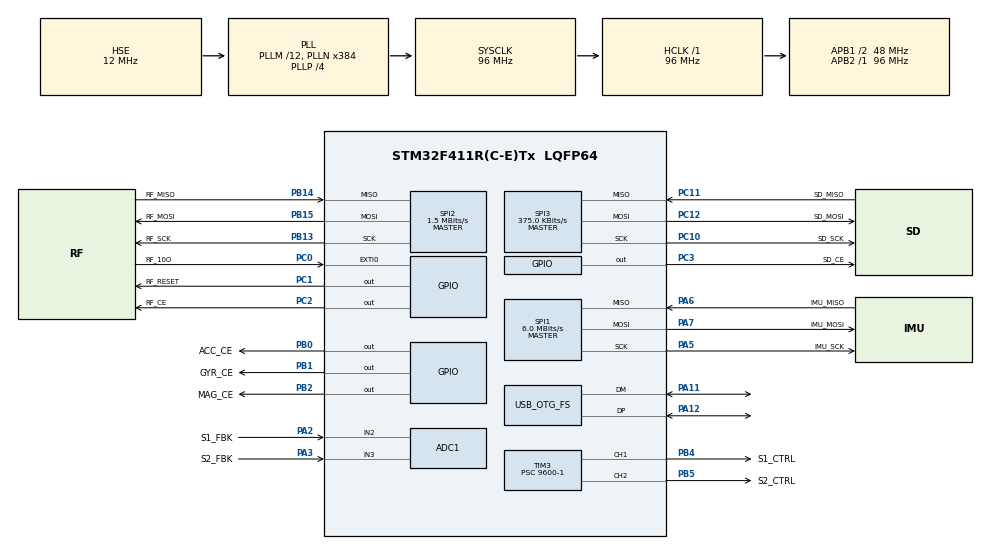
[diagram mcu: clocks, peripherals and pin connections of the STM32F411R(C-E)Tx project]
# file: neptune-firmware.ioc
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ADC1.Channel-0\#ChannelRegularConversion=ADC_CHANNEL_2
ADC1.NbrOfConversionFlag=1
ADC1.Rank-0\#ChannelRegularConversion=1
ADC1.SamplingTime-0\#ChannelRegularConversion=ADC_SAMPLETIME_3CYCLES
ADC1.master=1
FREERTOS.Tasks01=SensorRead,48,512,start_sensor_reading,Default,NULL,Dynamic,NULL,NULL;LoRa,15,512,start_LoRa_task,Default,NULL,Dynamic,NULL,NULL;ServoActuate,48,512,start_servo_control,Default,NULL,Dynamic,NULL,NULL;KalmanFilter,48,2048,start_kalman_filter,Default,NULL,Dynamic,NULL,NULL
FREERTOS.configUSE_NEWLIB_REENTRANT=1
Mcu.Family=STM32F4
Mcu.Name=STM32F411R(C-E)Tx
Mcu.Package=LQFP64
NVIC.EXTI0_IRQn=true\:5\:0\:false\:false\:true\:true\:true\:true\:true
NVIC.OTG_FS_IRQn=true\:5\:0\:false\:false\:true\:true\:false\:true\:true
NVIC.PriorityGroup=NVIC_PRIORITYGROUP_4
PA11.Mode=Device_Only
PA11.Signal=USB_OTG_FS_DM
PA12.Mode=Device_Only
PA12.Signal=USB_OTG_FS_DP
PA13.Mode=Serial_Wire
PA13.Signal=SYS_JTMS-SWDIO
PA14.Mode=Serial_Wire
PA14.Signal=SYS_JTCK-SWCLK
PA2.GPIO_Label=S1_FBK
PA2.Signal=ADCx_IN2
PA3.GPIO_Label=S2_FBK
PA3.Signal=ADCx_IN3
PA5.GPIO_Label=IMU_SCK
PA5.Mode=Full_Duplex_Master
PA5.Signal=SPI1_SCK
PA6.GPIO_Label=IMU_MISO
PA6.Mode=Full_Duplex_Master
PA6.Signal=SPI1_MISO
PA7.GPIO_Label=IMU_MOSI
PA7.Mode=Full_Duplex_Master
PA7.Signal=SPI1_MOSI
PB0.GPIO_Label=ACC_CE
PB0.Signal=GPIO_Output
PB1.GPIO_Label=GYR_CE
PB1.Signal=GPIO_Output
PB13.GPIO_Label=RF_SCK
PB13.Mode=Full_Duplex_Master
PB13.Signal=SPI2_SCK
PB14.GPIO_Label=RF_MISO
PB14.Mode=Full_Duplex_Master
PB14.Signal=SPI2_MISO
PB15.GPIO_Label=RF_MOSI
PB15.Mode=Full_Duplex_Master
PB15.Signal=SPI2_MOSI
PB2.GPIO_Label=MAG_CE
PB2.Signal=GPIO_Output
PB4.GPIO_Label=S1_CTRL
PB4.Signal=S_TIM3_CH1
PB5.GPIO_Label=S2_CTRL
PB5.Signal=S_TIM3_CH2
PC0.GPIO_Label=RF_10O
PC0.Signal=GPXTI0
PC1.GPIO_Label=RF_RESET
PC1.Signal=GPIO_Output
PC10.GPIO_Label=SD_SCK
PC10.Mode=Full_Duplex_Master
PC10.Signal=SPI3_SCK
PC11.GPIO_Label=SD_MISO
PC11.Mode=Full_Duplex_Master
PC11.Signal=SPI3_MISO
PC12.GPIO_Label=SD_MOSI
PC12.Mode=Full_Duplex_Master
PC12.Signal=SPI3_MOSI
PC14-OSC32_IN.Mode=LSE-External-Oscillator
PC14-OSC32_IN.Signal=RCC_OSC32_IN
PC15-OSC32_OUT.Mode=LSE-External-Oscillator
PC15-OSC32_OUT.Signal=RCC_OSC32_OUT
PC2.GPIO_Label=RF_CE
PC2.Signal=GPIO_Output
PC3.GPIO_Label=SD_CE
PC3.Signal=GPIO_Output
PH0\ -\ OSC_IN.Mode=HSE-External-Oscillator
PH0\ -\ OSC_IN.Signal=RCC_OSC_IN
PH1\ -\ OSC_OUT.Mode=HSE-External-Oscillator
PH1\ -\ OSC_OUT.Signal=RCC_OSC_OUT
ProjectManager.HeapSize=0x200
ProjectManager.StackSize=0x400
ProjectManager.TargetToolchain=STM32CubeIDE
RCC.48MHZClocksFreq_Value=48000000
RCC.AHBFreq_Value=96000000
RCC.APB1CLKDivider=RCC_HCLK_DIV2
RCC.APB1Freq_Value=48000000
RCC.APB1TimFreq_Value=96000000
RCC.APB2Freq_Value=96000000
RCC.APB2TimFreq_Value=96000000
RCC.CortexFreq_Value=96000000
RCC.HCLKFreq_Value=96000000
RCC.HSE_VALUE=12000000
RCC.HSI_VALUE=16000000
RCC.PLLM=12
RCC.PLLN=384
RCC.PLLP=RCC_PLLP_DIV4
RCC.PLLQ=8
RCC.SYSCLKFreq_VALUE=96000000
RCC.SYSCLKSource=RCC_SYSCLKSOURCE_PLLCLK
RCC.VCOOutputFreq_Value=384000000
SH.ADCx_IN2.0=ADC1_IN2,IN2
SH.ADCx_IN3.0=ADC1_IN3,IN3
SH.S_TIM3_CH1.0=TIM3_CH1,PWM Generation1 CH1
SH.S_TIM3_CH2.0=TIM3_CH2,PWM Generation2 CH2
SPI1.BaudRatePrescaler=SPI_BAUDRATEPRESCALER_16
SPI1.CalculateBaudRate=6.0 MBits/s
SPI1.Direction=SPI_DIRECTION_2LINES
SPI1.Mode=SPI_MODE_MASTER
SPI1.VirtualType=VM_MASTER
SPI2.BaudRatePrescaler=SPI_BAUDRATEPRESCALER_32
SPI2.CalculateBaudRate=1.5 MBits/s
SPI2.Direction=SPI_DIRECTION_2LINES
SPI2.Mode=SPI_MODE_MASTER
SPI2.VirtualType=VM_MASTER
SPI3.BaudRatePrescaler=SPI_BAUDRATEPRESCALER_128
SPI3.CalculateBaudRate=375.0 KBits/s
SPI3.Direction=SPI_DIRECTION_2LINES
SPI3.Mode=SPI_MODE_MASTER
SPI3.VirtualType=VM_MASTER
TIM2.Prescaler=192-1
TIM3.Channel-PWM\ Generation1\ CH1=TIM_CHANNEL_1
TIM3.Channel-PWM\ Generation2\ CH2=TIM_CHANNEL_2
TIM3.Period=200-1
TIM3.Prescaler=9600-1
USB_DEVICE.CLASS_NAME_FS=CDC
USB_DEVICE.VirtualMode=Cdc
USB_DEVICE.VirtualModeFS=Cdc_FS
USB_OTG_FS.VirtualMode=Device_Only
VP_FREERTOS_VS_CMSIS_V2.Mode=CMSIS_V2
VP_TIM2_VS_ClockSourceINT.Mode=Internal
VP_TIM3_VS_ClockSourceINT.Mode=Internal
VP_USB_DEVICE_VS_USB_DEVICE_CDC_FS.Mode=CDC_FS
board=custom

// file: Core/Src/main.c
/* USER CODE BEGIN Header */
/**
  ******************************************************************************
  * @file           : main.c
  * @brief          : Main program body
  ******************************************************************************
  * @attention
  *
  * Copyright (c) 2023 STMicroelectronics.
  * All rights reserved.
  *
  * This software is licensed under terms that can be found in the LICENSE file
  * in the root directory of this software component.
  * If no LICENSE file comes with this software, it is provided AS-IS.
  *
  ******************************************************************************
  */
/* USER CODE END Header */
#include "main.h"
#include "cmsis_os.h"
#include "usb_device.h"

/* USER CODE BEGIN Includes */
#include <math.h>
#include <string.h>
#include "usbd_cdc_if.h"
#include "arm_math.h"

#include "BMX055.h"
#include "LoRa.h"
#include "Sensors.h"
#include "packets.h"
#include "EKF.h"
#include "utils.h"
#include "servos.h"

// #include "arm_math.h"
// #include "usbd_cdc_if.h"
// #include "string.h"
// #include "BMX055.h"
// #include "Sensors.h"
// #include "utils.h"
// #include "packets.h"
// #include "LoRa.h"
// #include "servos.h"
// #include "EKF.h"

// #include <stdbool.h>
// #include <math.h>
// #include "usbd_cdc_if.h"
// #include "arm_math.h"

// #include "BMX055.h"
// #include "MS5611.h"
// #include "LoRa.h"
// #include "Sensors.h"
// #include "Packets.h"
// #include "EKF.h"
// #include "debug.h"
// #include "gps.h"
// #include "State_Machine.h"
/* USER CODE END Includes */

/* USER CODE BEGIN PTD */
#define SAMPLE_FREQUENCY 100
#define ACCEL_ALPHA 0.9
#define GYRO_ALPHA 0.5
/* USER CODE END PTD */

/* USER CODE BEGIN PD */
float32_t hard_iron_offset_data[3] = { 46.5, 74.0, -44.0 };
float32_t soft_iron_offset_data[9] = { 1, 0, 0, 0, 1, 0, 0, 0, 1 };
/* USER CODE END PD */

ADC_HandleTypeDef hadc1;

SPI_HandleTypeDef hspi1;
SPI_HandleTypeDef hspi2;
SPI_HandleTypeDef hspi3;

TIM_HandleTypeDef htim2;
TIM_HandleTypeDef htim3;

/* Definitions for SensorRead */
osThreadId_t SensorReadHandle;
const osThreadAttr_t SensorRead_attributes = {
  .name = "SensorRead",
  .stack_size = 512 * 4,
  .priority = (osPriority_t) osPriorityRealtime,
};
/* Definitions for LoRa */
osThreadId_t LoRaHandle;
const osThreadAttr_t LoRa_attributes = {
  .name = "LoRa",
  .stack_size = 512 * 4,
  .priority = (osPriority_t) osPriorityLow7,
};
/* Definitions for ServoActuate */
osThreadId_t ServoActuateHandle;
const osThreadAttr_t ServoActuate_attributes = {
  .name = "ServoActuate",
  .stack_size = 512 * 4,
  .priority = (osPriority_t) osPriorityRealtime,
};
/* Definitions for KalmanFilter */
osThreadId_t KalmanFilterHandle;
const osThreadAttr_t KalmanFilter_attributes = {
  .name = "KalmanFilter",
  .stack_size = 1024 * 4,
  .priority = (osPriority_t) osPriorityRealtime,
};
/* USER CODE BEGIN PV */
int SERVO_ENABLED = 0;  // disabled by default
/* USER CODE END PV */

void SystemClock_Config(void);
static void MX_GPIO_Init(void);
static void MX_SPI1_Init(void);
static void MX_SPI2_Init(void);
static void MX_SPI3_Init(void);
static void MX_ADC1_Init(void);
static void MX_TIM3_Init(void);
static void MX_TIM2_Init(void);
void start_sensor_reading(void *argument);
void start_LoRa_task(void *argument);
void start_servo_control(void *argument);
void start_kalman_filter(void *argument);

/* USER CODE BEGIN PFP */
BMX055_Handle bmx055;
BMX055_Data_Handle bmx055_data;
Motors motors;
TIM_HandleTypeDef *Micros_Timer = &htim2;

/* Define data class structs */
int trace_counter = 0;
BMX055_Handle bmx055;
BMX055_Data_Handle bmx055_data;
LoRa LoRa_Handle;
EKF ekf;
float EKF_K[12] = { 0, 0, 0, 0, 0, 0, 0, 0, 0, 0, 0, 0 };
float qu[4] = { 1, 0, 0, 0 }; // Corresponds to 0, 0, 0 YPR
float EKF_P[16] = { 0.01, 0, 0, 0, 0, 0.01, 0, 0, 0, 0, 0.01, 0, 0, 0, 0, 0.01 };
float EKF_Q[16] = { 0.01, 0, 0, 0, 0, 0.01, 0, 0, 0, 0, 0.01, 0, 0, 0, 0, 0.01 };
float EKF_R[9] = { 496, 025, 271, 025, 379, 326, 271, 326, 998 }; // These are in units of 100*m/s^2
/* USER CODE END PFP */

/* USER CODE BEGIN 0 */
uint32_t micros(TIM_HandleTypeDef *timer) {
	return __HAL_TIM_GET_COUNTER(timer);
}

void HAL_GPIO_EXTI_Callback(uint16_t GPIO_Pin) {
	// Give notification to Sample_Sensors_Handle so that scheduler enables the task
//	vTaskNotifyGiveFromISR(Sample_Sensors_Handle, NULL);
	switch (GPIO_Pin) {
	// case GPIO_PIN_4:
	// 	/* Accelerometer interrupt */
	// 	// Log time of interrupt
	// 	bmx055_data.accel[4] = bmx055_data.accel[3];
	// 	bmx055_data.accel[3] = micros(Micros_Timer);
	// 	xTaskNotifyFromISR(SensorReadHandle, (uint32_t)Accel_Sensor, eSetBits, NULL);
	// 	return;
	// case GPIO_PIN_5:
	// 	/* Gyroscope interrupt */
	// 	// Log time of interrupt
	// 	bmx055_data.gyro[4] = bmx055_data.gyro[3];
	// 	bmx055_data.gyro[3] = micros(Micros_Timer);
	// 	xTaskNotifyFromISR(SensorReadHandle, (uint32_t)Gyro_Sensor, eSetBits, NULL);
	// 	return;
	// case GPIO_PIN_6:
	// 	/* Magnetometer interrupt */
	// 	// Log time of interrupt
	// 	bmx055_data.mag[4] = bmx055_data.mag[3];
	// 	bmx055_data.mag[3] = micros(Micros_Timer);
	// 	xTaskNotifyFromISR(SensorReadHandle, (uint32_t)Mag_Sensor, eSetBits, NULL);
	// 	return;
	case GPIO_PIN_0:
		/* LoRa interrupt */
		xTaskNotifyFromISR(LoRaHandle, NULL, eNoAction, NULL);
	default:
		return;
	}
}
/* USER CODE END 0 */

int main(void)
{

  /* MCU Configuration--------------------------------------------------------*/

  /* Reset of all peripherals, Initializes the Flash interface and the Systick. */
  HAL_Init();

  /* Configure the system clock */
  SystemClock_Config();

  /* Initialize all configured peripherals */
  MX_GPIO_Init();
  MX_SPI1_Init();
  MX_SPI2_Init();
  MX_SPI3_Init();
  MX_ADC1_Init();
  MX_TIM3_Init();
  MX_TIM2_Init();
  /* USER CODE BEGIN 2 */
  HAL_NVIC_DisableIRQ(EXTI0_IRQn);
  HAL_TIM_PWM_Start(&htim3, TIM_CHANNEL_1);
  HAL_TIM_PWM_Start(&htim3, TIM_CHANNEL_2);

  /* LoRa configurations */
	LoRa_Handle = newLoRa();
	LoRa_Handle.hSPIx = &hspi2;
	LoRa_Handle.CS_port = RF_CE_GPIO_Port;
	LoRa_Handle.CS_pin = RF_CE_Pin;
	LoRa_Handle.reset_port = RF_RESET_GPIO_Port;
	LoRa_Handle.reset_pin = RF_RESET_Pin;
	LoRa_Handle.DIO0_port = RF_10O_GPIO_Port;
	LoRa_Handle.DIO0_pin = RF_10O_Pin;

	LoRa_Handle.frequency = 915;
	LoRa_Handle.spredingFactor = SF_7;						// default = SF_7
	LoRa_Handle.bandWidth = BW_125KHz;				  	// default = BW_125KHz
	LoRa_Handle.crcRate = CR_4_5;						// default = CR_4_5
	LoRa_Handle.power = POWER_20db;					// default = 20db
	LoRa_Handle.overCurrentProtection = 120; 				// default = 100 mA
	LoRa_Handle.preamble = 8;		  					// default = 8;

	HAL_GPIO_WritePin(RF_CE_GPIO_Port, RF_CE_Pin, GPIO_PIN_SET);

  /* Assign magnetometer calibration constants */
	arm_mat_init_f32(&bmx055.mag_hard_iron_offsets, 3, 1, hard_iron_offset_data);
	arm_mat_init_f32(&bmx055.mag_soft_iron_offsets, 3, 3, soft_iron_offset_data);

  /* BMX055 configurations */
	bmx055.hspi = &hspi1;
	// Accelerometer parameters
	bmx055.acc_CS_port = ACC_CE_GPIO_Port;
	bmx055.acc_CS_pin = ACC_CE_Pin;
	bmx055.acc_range = BMX055_ACC_RANGE_4;
	bmx055.acc_bandwidth = BMX055_ACC_PMU_BW_7_81;

	// Gyroscope parameters
	bmx055.gyro_CS_port = GYR_CE_GPIO_Port;
	bmx055.gyro_CS_pin = GYR_CE_Pin;
	bmx055.gyro_range = BMX055_GYRO_RANGE_65_6;		// 500 deg/s
	bmx055.gyro_bandwidth = BMX055_GYRO_BW_64;

	// Magnetometer parameters
	bmx055.mag_CS_port = MAG_CE_GPIO_Port;
	bmx055.mag_CS_pin = MAG_CE_Pin;
	bmx055.mag_data_rate = BMX055_MAG_DATA_RATE_30;

  /* Servo configurations */

	/* Start timers */
	HAL_TIM_Base_Start(Micros_Timer);

  /* USER CODE END 2 */

  /* Init scheduler */
  osKernelInitialize();

  /* Create the thread(s) */
  /* creation of SensorRead */
  SensorReadHandle = osThreadNew(start_sensor_reading, NULL, &SensorRead_attributes);

  /* creation of LoRa */
  LoRaHandle = osThreadNew(start_LoRa_task, NULL, &LoRa_attributes);

  /* creation of ServoActuate */
  ServoActuateHandle = osThreadNew(start_servo_control, NULL, &ServoActuate_attributes);

  /* creation of KalmanFilter */
  // KalmanFilterHandle = osThreadNew(start_kalman_filter, NULL, &KalmanFilter_attributes);

  /* Start scheduler */
  osKernelStart();

  /* We should never get here as control is now taken by the scheduler */
  /* Infinite loop */
  while (1)
  {

    /* USER CODE BEGIN 3 */

//  	float accel_data[3];
//	  BMX055_readAccel(&bmx055, accel_data);
//
//    float roll;
//    float pitch;
//
//    get_roll_and_pitch(accel_data, &roll, &pitch);
//
//    char str_buff[50];
//    sprintf(str_buff, "Roll: %.2f\tPitch: %.2f\r\n", roll, pitch);
//   	CDC_Transmit_FS(str_buff, strlen(str_buff));
//

	// 5% duty cycle minimum, 10% maximum
	// 16 bit, 65536 increments

	// arr = 200, duty cycle = ccr / arr * 100
	// if (duty_cycle > 11) {
	// 	reverse = 1;
	// 	duty_cycle = 11-3.5;
	// } else if (duty_cycle < 4) {
	// 	reverse = 0;
	// 	duty_cycle = 4+3.5;
	// }

//	 sprintf(str_buff, "Cycle: %.1f%%\r\n", duty_cycle);
//	 CDC_Transmit_FS(str_buff, strlen(str_buff));

	// htim3.Instance->CCR1 = duty_cycle * 200 / 100;
	// htim3.Instance->CCR2 = duty_cycle * 200 / 100;

	// if (reverse) {
	// 	duty_cycle -= 3.5;
	// } else {
	// 	duty_cycle += 3.5;
	// }

	// HAL_Delay(50);
  }
  /* USER CODE END 3 */
}

void SystemClock_Config(void)
{
  RCC_OscInitTypeDef RCC_OscInitStruct = {0};
  RCC_ClkInitTypeDef RCC_ClkInitStruct = {0};

  /** Configure the main internal regulator output voltage
  */
  __HAL_RCC_PWR_CLK_ENABLE();
  __HAL_PWR_VOLTAGESCALING_CONFIG(PWR_REGULATOR_VOLTAGE_SCALE1);

  /** Initializes the RCC Oscillators according to the specified parameters
  * in the RCC_OscInitTypeDef structure.
  */
  RCC_OscInitStruct.OscillatorType = RCC_OSCILLATORTYPE_HSE;
  RCC_OscInitStruct.HSEState = RCC_HSE_ON;
  RCC_OscInitStruct.PLL.PLLState = RCC_PLL_ON;
  RCC_OscInitStruct.PLL.PLLSource = RCC_PLLSOURCE_HSE;
  RCC_OscInitStruct.PLL.PLLM = 12;
  RCC_OscInitStruct.PLL.PLLN = 384;
  RCC_OscInitStruct.PLL.PLLP = RCC_PLLP_DIV4;
  RCC_OscInitStruct.PLL.PLLQ = 8;
  if (HAL_RCC_OscConfig(&RCC_OscInitStruct) != HAL_OK)
  {
    Error_Handler();
  }

  /** Initializes the CPU, AHB and APB buses clocks
  */
  RCC_ClkInitStruct.ClockType = RCC_CLOCKTYPE_HCLK|RCC_CLOCKTYPE_SYSCLK
                              |RCC_CLOCKTYPE_PCLK1|RCC_CLOCKTYPE_PCLK2;
  RCC_ClkInitStruct.SYSCLKSource = RCC_SYSCLKSOURCE_PLLCLK;
  RCC_ClkInitStruct.AHBCLKDivider = RCC_SYSCLK_DIV1;
  RCC_ClkInitStruct.APB1CLKDivider = RCC_HCLK_DIV2;
  RCC_ClkInitStruct.APB2CLKDivider = RCC_HCLK_DIV1;

  if (HAL_RCC_ClockConfig(&RCC_ClkInitStruct, FLASH_LATENCY_3) != HAL_OK)
  {
    Error_Handler();
  }
}

static void MX_ADC1_Init(void)
{

  ADC_ChannelConfTypeDef sConfig = {0};

  /** Configure the global features of the ADC (Clock, Resolution, Data Alignment and number of conversion)
  */
  hadc1.Instance = ADC1;
  hadc1.Init.ClockPrescaler = ADC_CLOCK_SYNC_PCLK_DIV4;
  hadc1.Init.Resolution = ADC_RESOLUTION_12B;
  hadc1.Init.ScanConvMode = DISABLE;
  hadc1.Init.ContinuousConvMode = DISABLE;
  hadc1.Init.DiscontinuousConvMode = DISABLE;
  hadc1.Init.ExternalTrigConvEdge = ADC_EXTERNALTRIGCONVEDGE_NONE;
  hadc1.Init.ExternalTrigConv = ADC_SOFTWARE_START;
  hadc1.Init.DataAlign = ADC_DATAALIGN_RIGHT;
  hadc1.Init.NbrOfConversion = 1;
  hadc1.Init.DMAContinuousRequests = DISABLE;
  hadc1.Init.EOCSelection = ADC_EOC_SINGLE_CONV;
  if (HAL_ADC_Init(&hadc1) != HAL_OK)
  {
    Error_Handler();
  }

  /** Configure for the selected ADC regular channel its corresponding rank in the sequencer and its sample time.
  */
  sConfig.Channel = ADC_CHANNEL_2;
  sConfig.Rank = 1;
  sConfig.SamplingTime = ADC_SAMPLETIME_3CYCLES;
  if (HAL_ADC_ConfigChannel(&hadc1, &sConfig) != HAL_OK)
  {
    Error_Handler();
  }

}

static void MX_SPI1_Init(void)
{

  /* SPI1 parameter configuration*/
  hspi1.Instance = SPI1;
  hspi1.Init.Mode = SPI_MODE_MASTER;
  hspi1.Init.Direction = SPI_DIRECTION_2LINES;
  hspi1.Init.DataSize = SPI_DATASIZE_8BIT;
  hspi1.Init.CLKPolarity = SPI_POLARITY_LOW;
  hspi1.Init.CLKPhase = SPI_PHASE_1EDGE;
  hspi1.Init.NSS = SPI_NSS_SOFT;
  hspi1.Init.BaudRatePrescaler = SPI_BAUDRATEPRESCALER_16;
  hspi1.Init.FirstBit = SPI_FIRSTBIT_MSB;
  hspi1.Init.TIMode = SPI_TIMODE_DISABLE;
  hspi1.Init.CRCCalculation = SPI_CRCCALCULATION_DISABLE;
  hspi1.Init.CRCPolynomial = 10;
  if (HAL_SPI_Init(&hspi1) != HAL_OK)
  {
    Error_Handler();
  }

}

static void MX_SPI2_Init(void)
{

  /* SPI2 parameter configuration*/
  hspi2.Instance = SPI2;
  hspi2.Init.Mode = SPI_MODE_MASTER;
  hspi2.Init.Direction = SPI_DIRECTION_2LINES;
  hspi2.Init.DataSize = SPI_DATASIZE_8BIT;
  hspi2.Init.CLKPolarity = SPI_POLARITY_LOW;
  hspi2.Init.CLKPhase = SPI_PHASE_1EDGE;
  hspi2.Init.NSS = SPI_NSS_SOFT;
  hspi2.Init.BaudRatePrescaler = SPI_BAUDRATEPRESCALER_32;
  hspi2.Init.FirstBit = SPI_FIRSTBIT_MSB;
  hspi2.Init.TIMode = SPI_TIMODE_DISABLE;
  hspi2.Init.CRCCalculation = SPI_CRCCALCULATION_DISABLE;
  hspi2.Init.CRCPolynomial = 10;
  if (HAL_SPI_Init(&hspi2) != HAL_OK)
  {
    Error_Handler();
  }

}

static void MX_SPI3_Init(void)
{

  /* SPI3 parameter configuration*/
  hspi3.Instance = SPI3;
  hspi3.Init.Mode = SPI_MODE_MASTER;
  hspi3.Init.Direction = SPI_DIRECTION_2LINES;
  hspi3.Init.DataSize = SPI_DATASIZE_8BIT;
  hspi3.Init.CLKPolarity = SPI_POLARITY_LOW;
  hspi3.Init.CLKPhase = SPI_PHASE_1EDGE;
  hspi3.Init.NSS = SPI_NSS_SOFT;
  hspi3.Init.BaudRatePrescaler = SPI_BAUDRATEPRESCALER_128;
  hspi3.Init.FirstBit = SPI_FIRSTBIT_MSB;
  hspi3.Init.TIMode = SPI_TIMODE_DISABLE;
  hspi3.Init.CRCCalculation = SPI_CRCCALCULATION_DISABLE;
  hspi3.Init.CRCPolynomial = 10;
  if (HAL_SPI_Init(&hspi3) != HAL_OK)
  {
    Error_Handler();
  }

}

static void MX_TIM2_Init(void)
{

  TIM_ClockConfigTypeDef sClockSourceConfig = {0};
  TIM_MasterConfigTypeDef sMasterConfig = {0};

  htim2.Instance = TIM2;
  htim2.Init.Prescaler = 192-1;
  htim2.Init.CounterMode = TIM_COUNTERMODE_UP;
  htim2.Init.Period = 4294967295;
  htim2.Init.ClockDivision = TIM_CLOCKDIVISION_DIV1;
  htim2.Init.AutoReloadPreload = TIM_AUTORELOAD_PRELOAD_DISABLE;
  if (HAL_TIM_Base_Init(&htim2) != HAL_OK)
  {
    Error_Handler();
  }
  sClockSourceConfig.ClockSource = TIM_CLOCKSOURCE_INTERNAL;
  if (HAL_TIM_ConfigClockSource(&htim2, &sClockSourceConfig) != HAL_OK)
  {
    Error_Handler();
  }
  sMasterConfig.MasterOutputTrigger = TIM_TRGO_RESET;
  sMasterConfig.MasterSlaveMode = TIM_MASTERSLAVEMODE_DISABLE;
  if (HAL_TIMEx_MasterConfigSynchronization(&htim2, &sMasterConfig) != HAL_OK)
  {
    Error_Handler();
  }

}

static void MX_TIM3_Init(void)
{

  TIM_ClockConfigTypeDef sClockSourceConfig = {0};
  TIM_MasterConfigTypeDef sMasterConfig = {0};
  TIM_OC_InitTypeDef sConfigOC = {0};

  htim3.Instance = TIM3;
  htim3.Init.Prescaler = 9600-1;
  htim3.Init.CounterMode = TIM_COUNTERMODE_UP;
  htim3.Init.Period = 200-1;
  htim3.Init.ClockDivision = TIM_CLOCKDIVISION_DIV1;
  htim3.Init.AutoReloadPreload = TIM_AUTORELOAD_PRELOAD_DISABLE;
  if (HAL_TIM_Base_Init(&htim3) != HAL_OK)
  {
    Error_Handler();
  }
  sClockSourceConfig.ClockSource = TIM_CLOCKSOURCE_INTERNAL;
  if (HAL_TIM_ConfigClockSource(&htim3, &sClockSourceConfig) != HAL_OK)
  {
    Error_Handler();
  }
  if (HAL_TIM_PWM_Init(&htim3) != HAL_OK)
  {
    Error_Handler();
  }
  sMasterConfig.MasterOutputTrigger = TIM_TRGO_RESET;
  sMasterConfig.MasterSlaveMode = TIM_MASTERSLAVEMODE_DISABLE;
  if (HAL_TIMEx_MasterConfigSynchronization(&htim3, &sMasterConfig) != HAL_OK)
  {
    Error_Handler();
  }
  sConfigOC.OCMode = TIM_OCMODE_PWM1;
  sConfigOC.Pulse = 0;
  sConfigOC.OCPolarity = TIM_OCPOLARITY_HIGH;
  sConfigOC.OCFastMode = TIM_OCFAST_DISABLE;
  if (HAL_TIM_PWM_ConfigChannel(&htim3, &sConfigOC, TIM_CHANNEL_1) != HAL_OK)
  {
    Error_Handler();
  }
  if (HAL_TIM_PWM_ConfigChannel(&htim3, &sConfigOC, TIM_CHANNEL_2) != HAL_OK)
  {
    Error_Handler();
  }
  HAL_TIM_MspPostInit(&htim3);

}

static void MX_GPIO_Init(void)
{
  GPIO_InitTypeDef GPIO_InitStruct = {0};

  /* GPIO Ports Clock Enable */
  __HAL_RCC_GPIOC_CLK_ENABLE();
  __HAL_RCC_GPIOH_CLK_ENABLE();
  __HAL_RCC_GPIOA_CLK_ENABLE();
  __HAL_RCC_GPIOB_CLK_ENABLE();

  /*Configure GPIO pin Output Level */
  HAL_GPIO_WritePin(GPIOC, RF_RESET_Pin|RF_CE_Pin|SD_CE_Pin, GPIO_PIN_RESET);

  /*Configure GPIO pin Output Level */
  HAL_GPIO_WritePin(GPIOB, ACC_CE_Pin|GYR_CE_Pin|MAG_CE_Pin, GPIO_PIN_RESET);

  /*Configure GPIO pin : RF_10O_Pin */
  GPIO_InitStruct.Pin = RF_10O_Pin;
  GPIO_InitStruct.Mode = GPIO_MODE_IT_RISING;
  GPIO_InitStruct.Pull = GPIO_NOPULL;
  HAL_GPIO_Init(RF_10O_GPIO_Port, &GPIO_InitStruct);

  /*Configure GPIO pins : RF_RESET_Pin RF_CE_Pin SD_CE_Pin */
  GPIO_InitStruct.Pin = RF_RESET_Pin|RF_CE_Pin|SD_CE_Pin;
  GPIO_InitStruct.Mode = GPIO_MODE_OUTPUT_PP;
  GPIO_InitStruct.Pull = GPIO_NOPULL;
  GPIO_InitStruct.Speed = GPIO_SPEED_FREQ_LOW;
  HAL_GPIO_Init(GPIOC, &GPIO_InitStruct);

  /*Configure GPIO pins : ACC_CE_Pin GYR_CE_Pin MAG_CE_Pin */
  GPIO_InitStruct.Pin = ACC_CE_Pin|GYR_CE_Pin|MAG_CE_Pin;
  GPIO_InitStruct.Mode = GPIO_MODE_OUTPUT_PP;
  GPIO_InitStruct.Pull = GPIO_NOPULL;
  GPIO_InitStruct.Speed = GPIO_SPEED_FREQ_LOW;
  HAL_GPIO_Init(GPIOB, &GPIO_InitStruct);

  /* EXTI interrupt init*/
  HAL_NVIC_SetPriority(EXTI0_IRQn, 5, 0);
  HAL_NVIC_EnableIRQ(EXTI0_IRQn);

}

void start_sensor_reading(void *argument)
{
  /* init code for USB_DEVICE */
  MX_USB_DEVICE_Init();
  /* USER CODE BEGIN 5 */
	// Init BMX055
	if (!BMX055_init(&bmx055)) {
		printf("[main] BMX055 failed to start\r\n");
	}
  // We're not using interrupts (good idea for V2 though)
	// BMX055_setInterrupts(&bmx055);

	uint8_t data;

	/* GPS config */
//  gps_init_tpv(&tpv);
//	GNSS_Init(&GNSS_Handle, GPS_UART);
//	GNSS_LoadConfig(&GNSS_Handle);
	/* EXTI interrupt init*/
//	HAL_NVIC_SetPriority(EXTI4_IRQn, 5, 0);
	// HAL_NVIC_EnableIRQ(EXTI4_IRQn);

//	HAL_NVIC_SetPriority(EXTI9_5_IRQn, 5, 0);
	// HAL_NVIC_EnableIRQ(EXTI9_5_IRQn);

//	HAL_NVIC_SetPriority(EXTI15_10_IRQn, 5, 0);
	// HAL_NVIC_EnableIRQ(EXTI15_10_IRQn);

	// Sensor type that is ready when task is released
	uint32_t sensor_type;
  osDelay(2000);  // give it a lil
	/* Infinite loop */
	for (;;) {
		// Wait for sensors to be ready before running task
		// xTaskNotifyWait(0, 0, &sensor_type, (TickType_t) portMAX_DELAY);

		/* Check each sensor each loop for new data */
    float accel_data[3];
    float gyro_data[3];
    BMX055_readAccel(&bmx055, accel_data);
    BMX055_exp_filter(bmx055_data.accel, accel_data, bmx055_data.accel, sizeof(accel_data) / sizeof(int),
    ACCEL_ALPHA);
    BMX055_readGyro(&bmx055, gyro_data);
    BMX055_exp_filter(bmx055_data.gyro, gyro_data, bmx055_data.gyro, sizeof(gyro_data) / sizeof(int),
    GYRO_ALPHA);
    BMX055_readCompensatedMag(&bmx055, bmx055_data.mag);

    osDelay(10);  // every 30ms let's grab some new data
	}
  /* USER CODE END 5 */
}

void start_LoRa_task(void *argument)
{
  /* USER CODE BEGIN start_LoRa_task */
	HAL_NVIC_EnableIRQ(EXTI0_IRQn);
  LoRa_reset(&LoRa_Handle);
	LoRa_setModulation(&LoRa_Handle, LORA_MODULATION);
	if (LoRa_init(&LoRa_Handle) != LORA_OK) {
      CDC_Transmit_FS("LoRa connection failed\r\n", strlen("LoRa connection failed\r\n"));
	}

	LoRa_startReceiving(&LoRa_Handle);

//  for (;;) { // testing if we receive anything
//	int amount = LoRa_received_bytes(&LoRa_Handle);
//    if (amount) {
//        uint8_t read_data[255];
//        size_t bytes_read = LoRa_receive(&LoRa_Handle, read_data, sizeof(read_data));
//
//        for (int i=0; i < bytes_read; i++) {
//        	uint8_t var = read_data[i];
//        }
//        // uint8_t resp = 1;
//        // LoRa_transmit(&LoRa_Handle, &resp, 1, TRANSMIT_TIMEOUT);
//    }
//
//  }
  /* Infinite loop */
  for(;;)
  {
    // Wait for LoRa to be ready before running task
    xTaskNotifyWait(0, 0, NULL, (TickType_t) portMAX_DELAY);

    // Read bytes in FIFO buffer
    uint8_t read_data[255];
    size_t bytes_read = LoRa_receive(&LoRa_Handle, read_data, sizeof(read_data));
    switch (read_data[0]) {
      case SET_ANGLES: ;
      	if (bytes_read < 3) break;
//      	SERVO_ENABLED = 1;
//      	motors.m1_angle = (float) read_data[1];
//      	motors.m2_angle = (float) read_data[2];
      	set_motor(1, 1, (float) read_data[bytes_read-2], htim3);
      	set_motor(2, 1, (float) read_data[bytes_read-1], htim3);
        break;
      case GIMBLE_MOTORS:
        gimble_test(htim3);
        break;
      case PONG: ;
        uint8_t resp = 1;
        LoRa_transmit(&LoRa_Handle, &resp, 1, TRANSMIT_TIMEOUT);
        break;
      case SENS_REPORT: ;
        float dummy[2];
        get_roll_and_pitch(bmx055_data.accel, &dummy[0], &dummy[1]);
        uint8_t packet[4];
        if (dummy[0] < 0) {
        	packet[0] = 1;  // sign bit
        	packet[1] = round(-dummy[0]);
        } else {
        	packet[0] = 0;  // sign bit
        	packet[1] = round(dummy[0]);
        }
        if (dummy[1] < 0) {
        	packet[2] = 1;  // sign bit
        	packet[3] = round(-dummy[1]);
        } else {
        	packet[2] = 0;  // sign bit
        	packet[3] = round(dummy[1]);
        }

        LoRa_transmit(&LoRa_Handle, &packet[0], 1, TRANSMIT_TIMEOUT);
        LoRa_transmit(&LoRa_Handle, &packet[1], 1, TRANSMIT_TIMEOUT);
        LoRa_transmit(&LoRa_Handle, &packet[2], 1, TRANSMIT_TIMEOUT);
        LoRa_transmit(&LoRa_Handle, &packet[3], 1, TRANSMIT_TIMEOUT);
//        LoRa_transmit(&LoRa_Handle, packet, 4, TRANSMIT_TIMEOUT);
        break;
      case COUNTER_TILT: ;
        SERVO_ENABLED = !SERVO_ENABLED;
      default:
        break;
    }
  }
  /* USER CODE END start_LoRa_task */
}

void start_servo_control(void *argument)
{
  /* USER CODE BEGIN start_servo_control */
  /* Infinite loop */
  for(;;)
  {
    if (SERVO_ENABLED) {
      // roll increases == servo decreases
      // pitch increases == servo decreases
        float roll;
        float pitch;
        get_roll_and_pitch(bmx055_data.accel, &roll, &pitch);
        pitch = fmaxf(fminf((90 - pitch*1.15), 170), 10);
        roll = fmaxf(fminf(90 - (roll - 90)*1.15, 170), 10);
        set_motor(1, 0, roll, htim3);
      	set_motor(2, 0, pitch, htim3);
    }
    osDelay(30);
  }
  /* USER CODE END start_servo_control */
}

void start_kalman_filter(void *argument)
{
  /* USER CODE BEGIN start_kalman_filter */
	uint32_t currentSampleTime = 0;
	uint32_t lastSampleTime = 0;
	int correct_freq = 1;
	int idx = 0;
	EKF_Init(&ekf, qu, EKF_K, EKF_P, EKF_Q, EKF_R, 0.0);
	float fake_acc_dat[10][3] = { { 0, 0, -9.81 }, { 1.703, 0, 9.66 }, { 3.355, 0, 9.218 }, { 4.905, 0, 8.496 }, { 6.306, 0, 7.515 }, { 7.515, 0, 6.306 }, { 8.496, 0, 4.905 }, { 9.218, 0, 3.355 }, { 9.66, 0, 1.703 }, { -9.81, 0, 0 } };
	float fake_gyr_dat[10][3] = { { 0, 0.175, 0 }, { 0, 0.175, 0 }, { 0, 0.175, 0 }, { 0, 0.175, 0 }, { 0, 0.175, 0 }, { 0, 0.175, 0 }, { 0, 0.175, 0 }, { 0, 0.175, 0 }, { 0, 0.175, 0 }, { 0, 0.175, 0 } };
//	osDelay(3000);

	/* Infinite loop */
	for (;;) {
		trace_counter++;
		currentSampleTime = micros(Micros_Timer);
		float dt = (currentSampleTime - lastSampleTime) / 1E6;
		lastSampleTime = currentSampleTime;

		float p = (float) (bmx055_data.gyro[0]);
		float q = (float) (bmx055_data.gyro[1]);
		float r = (float) (bmx055_data.gyro[2]);
		EKF_Predict(&ekf, p, q, r, dt);
		if (idx % correct_freq == 0) {
			EKF_Update(&ekf, (float) bmx055_data.accel[0] / 100, (float) bmx055_data.accel[1] / 100, (float) bmx055_data.accel[2] / 100, 1.5, 0, 0);
			idx = 0;
		}
		idx++;
		float euler_result[3];
		EP2Euler321(ekf.qu_data, euler_result);
		char printData[256];
		size_t sz;
		// Print pqr rates in rad/s
//		sz = snprintf(printData, sizeof(printData), "%0.6f, %0.6f, %0.6f, %0.6f\r\n", p, q, r, dt);
//		debug_print(printData, sz);
		// Print Euler angles
//		sz = snprintf(printData, sizeof(printData), "roll:%0.2f pitch:%0.2f yaw:%0.2f\r\n",
//				euler_result[0] * 57.2958, euler_result[1] * 57.2958,
//				euler_result[2] * 57.2958);
//		debug_print(printData, sz);
		// Print quaternions
//	sz = snprintf(printData, sizeof(printData), "%0.10f, %0.10f, %0.10f, %0.10f, %0.10f, %0.10f, %0.10f, %0.10f, %0.10f, %0.10f, %0.10f\r\n", p, q, r, dt, ekf.qu_data[0],
//				ekf.qu_data[1], ekf.qu_data[2], ekf.qu_data[3], euler_result[0], euler_result[1], euler_result[2]);
//		debug_print(printData, sz);
//		sz = snprintf(printData, sizeof(printData), "Orientation: %0.4f, %0.4f, %0.4f\r\n", euler_result[0] * 57.2958, euler_result[1] * 57.2958, euler_result[2] * 57.2958);
//		debug_print(printData, sz, dbg=DBG);
		osDelay(30);
//		for (int idx = 0; idx < 10; idx++) {
//			EKF_Predict(&ekf, fake_gyr_dat[idx][0], fake_gyr_dat[idx][1], fake_gyr_dat[idx][2], 1.0);
//			EKF_Update(&ekf, fake_acc_dat[idx][0], fake_acc_dat[idx][1], fake_acc_dat[idx][2], 1.5, 0, 0);
//
//			float euler_result[3];
//			EP2Euler123(ekf.qu_data, euler_result);
//			char printData[128];
//			size_t sz = snprintf(printData, sizeof(printData), "%0.2f, %0.2f, %0.2f\r\n", euler_result[0] * 57.2958,
//					euler_result[1] * 57.2958, euler_result[2] * 57.2958);
//			debug_print(printData, sz);
//			osDelay(1000);
//		}
	}
  /* USER CODE END start_kalman_filter */
}

void Error_Handler(void)
{
  __disable_irq();
  while (1)
  {
  }
}
